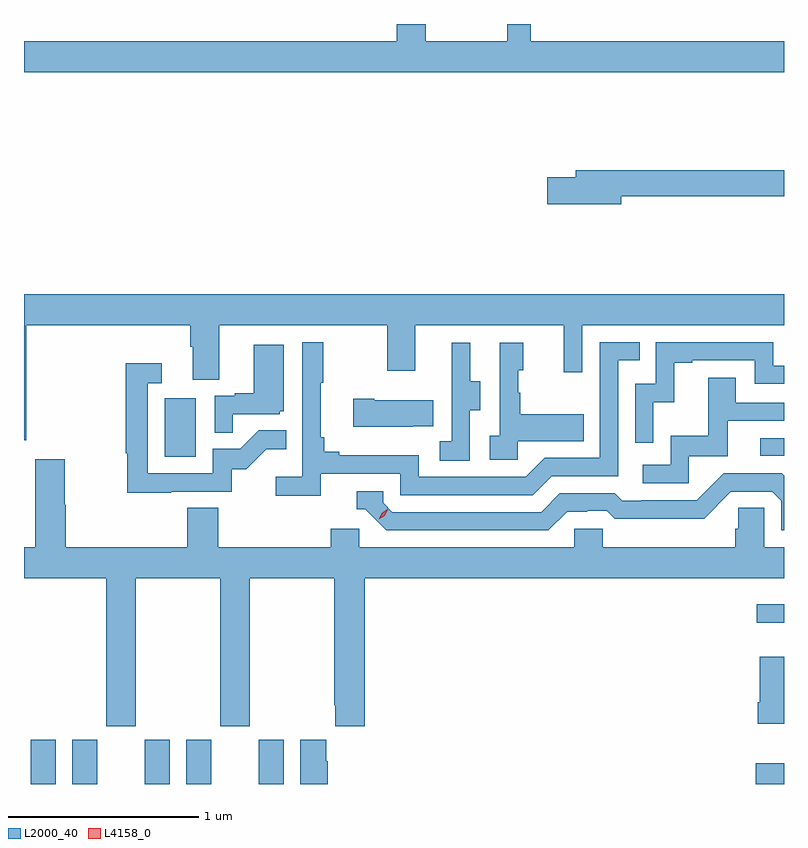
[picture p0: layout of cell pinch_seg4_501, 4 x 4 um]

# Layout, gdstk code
import gdstk
lib = gdstk.Library(unit=1e-6, precision=1e-09)
def R(c, l, rs):  # rectangles x0, y0, x1, y1
    for r in rs: c.add(gdstk.rectangle(r[:2], r[2:], *l))
def P(c, l, *ps):  # polygons
    for p in ps: c.add(gdstk.Polygon(p, *l))
L2000_40 = (2000, 40)
L4158_0 = (4158, 0)

pinch_seg4_501 = lib.new_cell('pinch_seg4_501')
R(pinch_seg4_501, L2000_40, [(993.785,755.778,993.916,756.01), (994.004,755.778,994.135,756.01), (994.385,755.778,994.516,756.01), (994.604,755.778,994.735,756.01), (994.985,755.778,995.116,756.01), (997.601,755.778,997.749,755.887), (997.605,756.627,997.749,756.724), (994.49,757.5,994.654,757.807), (997.623,757.506,997.749,757.599)])
P(pinch_seg4_501, L2000_40, [(997.749,759.688),(996.415,759.688),(996.415,759.778),(996.293,759.778),(996.293,759.688),(995.863,759.688),(995.863,759.778),(995.711,759.778),(995.711,759.688),(993.749,759.688),(993.749,759.524),(997.749,759.524)],
  [(996.892,758.872),(997.749,758.872),(997.749,759.008),(996.653,759.008),(996.653,758.972),(996.504,758.972),(996.504,758.83),(996.892,758.83)],
  [(993.76,758.192),(994.625,758.192),(994.625,758.08),(994.637,758.08),(994.637,757.906),(994.777,757.906),(994.777,758.192),(995.662,758.192),(995.662,757.953),(995.809,757.953),(995.809,758.192),(996.59,758.192),(996.59,757.944),(996.687,757.944),(996.687,758.192),(997.749,758.192),(997.749,758.356),(993.749,758.356),(993.749,757.586),(993.76,757.586)],
  [(995.312,757.41),(995.73,757.41),(995.73,757.299),(996.427,757.299),(996.526,757.398),(996.876,757.398),(996.876,758.007),(996.989,758.007),(996.989,758.103),(996.78,758.103),(996.78,757.494),(996.489,757.494),(996.39,757.395),(995.826,757.395),(995.826,757.507),(995.407,757.507),(995.407,757.526),(995.33,757.526),(995.33,757.603),(995.311,757.603),(995.311,757.891),(995.323,757.891),(995.323,758.104),(995.214,758.104),(995.214,757.396),(995.073,757.396),(995.073,757.294),(995.312,757.294)],
  [(997.062,757.787),(997.172,757.787),(997.172,757.995),(997.267,757.995),(997.267,758.007),(997.596,758.007),(997.596,757.884),(997.749,757.884),(997.749,757.98),(997.692,757.98),(997.692,758.103),(997.074,758.103),(997.074,757.884),(996.966,757.884),(996.966,757.575),(997.062,757.575)],
  [(996.348,757.583),(996.695,757.583),(996.695,757.723),(996.361,757.723),(996.361,757.838),(996.351,757.838),(996.351,757.956),(996.376,757.956),(996.376,758.101),(996.252,758.101),(996.252,757.61),(996.201,757.61),(996.201,757.485),(996.348,757.485)],
  [(996.096,757.744),(996.151,757.744),(996.151,757.899),(996.097,757.899),(996.097,758.101),(995.999,758.101),(995.999,757.887),(996,757.887),(996,757.583),(995.937,757.583),(995.937,757.48),(996.096,757.48)],
  [(994.847,757.725),(995.094,757.725),(995.094,757.74),(995.116,757.74),(995.116,758.089),(994.958,758.089),(994.958,757.834),(994.859,757.834),(994.859,757.821),(994.752,757.821),(994.752,757.627),(994.847,757.627)],
  [(994.523,757.317),(994.842,757.317),(994.842,757.434),(994.918,757.434),(995.025,757.541),(995.129,757.541),(995.129,757.64),(994.985,757.64),(994.887,757.542),(994.743,757.542),(994.743,757.413),(994.401,757.413),(994.401,757.887),(994.474,757.887),(994.474,757.993),(994.285,757.993),(994.285,757.52),(994.293,757.52),(994.293,757.312),(994.523,757.312)],
  [(997.248,757.503),(997.453,757.503),(997.453,757.689),(997.749,757.689),(997.749,757.785),(997.495,757.785),(997.495,757.915),(997.351,757.915),(997.351,757.612),(997.152,757.612),(997.152,757.458),(997.005,757.458),(997.005,757.362),(997.248,757.362)],
  [(995.795,757.661),(995.903,757.661),(995.903,757.798),(995.593,757.798),(995.593,757.806),(995.481,757.806),(995.481,757.658),(995.795,757.658)],
  [(994.338,756.86),(994.783,756.86),(994.783,756.081),(994.938,756.081),(994.938,756.86),(995.383,756.86),(995.383,756.193),(995.387,756.193),(995.387,756.081),(995.543,756.081),(995.543,756.86),(997.749,756.86),(997.749,757.024),(997.644,757.024),(997.644,757.232),(997.507,757.232),(997.507,757.122),(997.493,757.122),(997.493,757.024),(996.795,757.024),(996.795,757.122),(996.645,757.122),(996.645,757.024),(995.514,757.024),(995.514,757.122),(995.363,757.122),(995.363,757.024),(994.772,757.024),(994.772,757.232),(994.607,757.232),(994.607,757.024),(993.968,757.024),(993.968,757.247),(993.963,757.247),(993.963,757.486),(993.808,757.486),(993.808,757.024),(993.749,757.024),(993.749,756.86),(994.183,756.86),(994.183,756.081),(994.338,756.081)],
  [(996.607,757.212),(996.714,757.212),(996.714,757.215),(996.817,757.215),(996.859,757.173),(997.092,757.173),(997.092,757.175),(997.328,757.175),(997.47,757.317),(997.686,757.317),(997.734,757.269),(997.734,757.113),(997.749,757.113),(997.749,757.401),(997.737,757.413),(997.431,757.413),(997.29,757.272),(996.997,757.272),(996.997,757.269),(996.898,757.269),(996.859,757.308),(996.57,757.308),(996.471,757.209),(995.688,757.209),(995.64,757.257),(995.64,757.32),(995.501,757.32),(995.501,757.224),(995.544,757.224),(995.655,757.113),(996.508,757.113)],
  [(997.749,756.448),(997.622,756.448),(997.622,756.208),(997.61,756.208),(997.61,756.096),(997.749,756.096)],
  [(995.348,755.897),(995.341,755.897),(995.341,756.01),(995.204,756.01),(995.204,755.778),(995.348,755.778)])
P(pinch_seg4_501, L4158_0, [(995.617,757.171),(995.617,757.172),(995.632,757.204),(995.662,757.224),(995.663,757.224),(995.663,757.224),(995.647,757.191),(995.617,757.171)])

lib.write_gds('pinch_seg4_501.gds')
